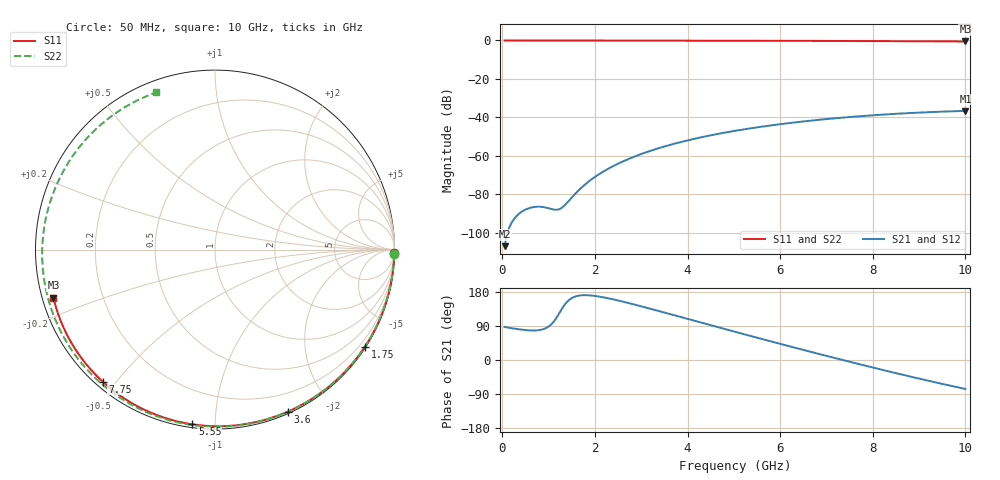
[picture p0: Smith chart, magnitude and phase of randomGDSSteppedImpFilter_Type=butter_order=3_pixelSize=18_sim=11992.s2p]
! freq	dB(S11)	phase(S11)	dB(S12)	phase(S12)
!  dB(S21)	phase(S21)	dB(S22)	phase(S22)
!S-par simulation data
#  GHz  S  DB  R 50
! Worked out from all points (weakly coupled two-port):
!   200 points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, 50 MHz to 10 GHz, reference 50 ohm
!   highest |S21| = -36.59 dB at 10 GHz (marker M1); lowest = -106.9 dB at 50 MHz (marker M2)
!   lowest |S11| = -0.5 dB at 10 GHz (marker M3), VSWR 32.12, Z = 1.59 - j7.29 ohm
!   |S11| at or under -10 dB: nowhere
!   |S22| runs from -0.6 to 0.0 dB; largest |S21 - S12| = 0
!   S11 on the Smith chart (normalised r, x): 50 MHz: open; 1.75 GHz: 0.03, -3.39; 3.6 GHz: 0.02, -1.55; 5.55 GHz: 0.02, -0.88; 7.75 GHz: 0.02, -0.46; 10 GHz: 0.03, -0.15
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0.05  -0.00 -0.9  -106.88 87.6  -106.88 87.6  -0.00 -1.5
0.4  -0.01 -7.6  -89.30 80.4  -89.30 80.4  -0.02 -12.0
0.75  -0.02 -14.2  -86.38 78.2  -86.38 78.2  -0.03 -22.5
1.15  -0.03 -21.8  -87.96 107.7  -87.96 107.7  -0.04 -34.3
1.55  -0.04 -29.2  -80.30 166.3  -80.30 166.3  -0.06 -45.8
1.75  -0.04 -32.9  -75.60 171.0  -75.60 171.0  -0.06 -51.4
2.05  -0.05 -38.4  -70.10 168.3  -70.10 168.3  -0.08 -59.8
2.45  -0.06 -45.6  -64.61 158.5  -64.61 158.5  -0.09 -70.7
2.9  -0.07 -53.6  -59.91 144.9  -59.91 144.9  -0.10 -82.5
3.4  -0.08 -62.3  -55.81 128.6  -55.81 128.6  -0.12 -95.2
3.6  -0.09 -65.7  -54.41 121.9  -54.41 121.9  -0.13 -100.2
4.3  -0.11 -77.4  -50.28 98.5  -50.28 98.5  -0.16 -117.0
5.05  -0.14 -89.6  -46.85 73.6  -46.85 73.6  -0.19 -134.2
5.55  -0.16 -97.4  -44.97 57.2  -44.97 57.2  -0.22 -145.5
6.15  -0.19 -106.6  -43.05 37.8  -43.05 37.8  -0.26 -158.8
6.7  -0.22 -114.9  -41.56 20.3  -41.56 20.3  -0.30 -170.9
7.25  -0.26 -123.1  -40.29 3.1  -40.29 3.1  -0.34 176.8
7.75  -0.30 -130.4  -39.31 -12.3  -39.31 -12.3  -0.38 165.5
8.35  -0.36 -139.2  -38.32 -30.3  -38.32 -30.3  -0.44 151.6
9.15  -0.44 -150.8  -37.31 -53.4  -37.31 -53.4  -0.51 132.3
9.6  -0.49 -157.4  -36.89 -65.8  -36.89 -65.8  -0.55 120.9
10  -0.54 -163.4  -36.59 -76.4  -36.59 -76.4  -0.59 110.5
